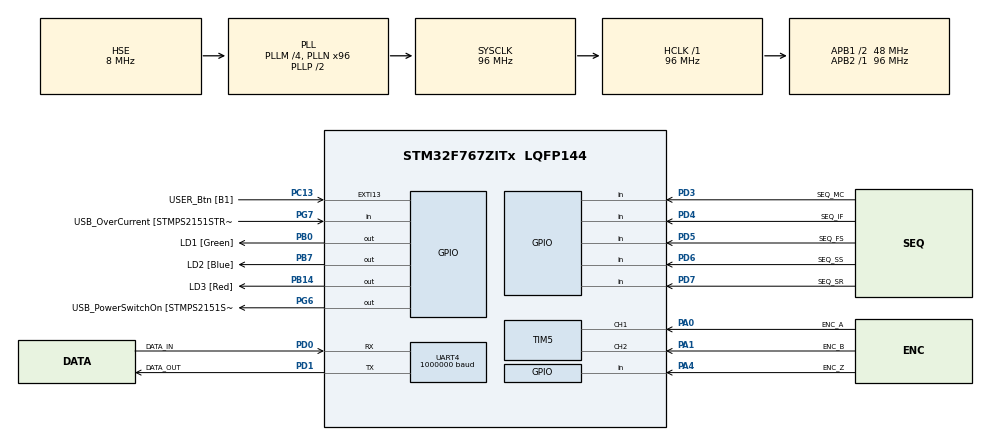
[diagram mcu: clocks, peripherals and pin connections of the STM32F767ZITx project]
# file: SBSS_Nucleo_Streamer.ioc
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Dma.Request0=UART4_TX
Dma.UART4_TX.0.Direction=DMA_MEMORY_TO_PERIPH
Dma.UART4_TX.0.FIFOMode=DMA_FIFOMODE_DISABLE
Dma.UART4_TX.0.Instance=DMA1_Stream4
Dma.UART4_TX.0.MemDataAlignment=DMA_MDATAALIGN_BYTE
Dma.UART4_TX.0.MemInc=DMA_MINC_ENABLE
Dma.UART4_TX.0.Mode=DMA_NORMAL
Dma.UART4_TX.0.PeriphDataAlignment=DMA_PDATAALIGN_BYTE
Dma.UART4_TX.0.PeriphInc=DMA_PINC_DISABLE
Dma.UART4_TX.0.Priority=DMA_PRIORITY_LOW
Mcu.Family=STM32F7
Mcu.Name=STM32F767ZITx
Mcu.Package=LQFP144
NVIC.DMA1_Stream4_IRQn=true\:0\:0\:false\:false\:false\:false\:true\:false
NVIC.PriorityGroup=NVIC_PRIORITYGROUP_4
PA0/WKUP.GPIO_Label=ENC_A
PA0/WKUP.Signal=S_TIM5_CH1
PA1.GPIO_Label=ENC_B
PA1.Signal=S_TIM5_CH2
PA13.GPIO_Label=TMS
PA13.Mode=Serial_Wire
PA13.Signal=SYS_JTMS-SWDIO
PA14.GPIO_Label=TCK
PA14.Mode=Serial_Wire
PA14.Signal=SYS_JTCK-SWCLK
PA4.GPIO_Label=ENC_Z
PA4.Signal=GPIO_Input
PB0.GPIO_Label=LD1 [Green]
PB0.Signal=GPIO_Output
PB14.GPIO_Label=LD3 [Red]
PB14.Signal=GPIO_Output
PB3.GPIO_Label=SWO
PB3.Signal=SYS_JTDO-SWO
PB7.GPIO_Label=LD2 [Blue]
PB7.Signal=GPIO_Output
PC13.GPIO_Label=USER_Btn [B1]
PC13.Signal=GPXTI13
PC14/OSC32_IN.Mode=LSE-External-Oscillator
PC14/OSC32_IN.Signal=RCC_OSC32_IN
PC15/OSC32_OUT.Mode=LSE-External-Oscillator
PC15/OSC32_OUT.Signal=RCC_OSC32_OUT
PD0.GPIO_Label=DATA_IN
PD0.Mode=Asynchronous
PD0.Signal=UART4_RX
PD1.GPIO_Label=DATA_OUT
PD1.Mode=Asynchronous
PD1.Signal=UART4_TX
PD3.GPIO_Label=SEQ_MC
PD3.Signal=GPIO_Input
PD4.GPIO_Label=SEQ_IF
PD4.Signal=GPIO_Input
PD5.GPIO_Label=SEQ_FS
PD5.Signal=GPIO_Input
PD6.GPIO_Label=SEQ_SS
PD6.Signal=GPIO_Input
PD7.GPIO_Label=SEQ_SR
PD7.Signal=GPIO_Input
PG6.GPIO_Label=USB_PowerSwitchOn [STMPS2151STR_EN]
PG6.Signal=GPIO_Output
PG7.GPIO_Label=USB_OverCurrent [STMPS2151STR_FAULT]
PG7.Signal=GPIO_Input
PH0/OSC_IN.GPIO_Label=MCO [STM32F103CBT6_PA8]
PH0/OSC_IN.Mode=HSE-External-Clock-Source
PH0/OSC_IN.Signal=RCC_OSC_IN
PH1/OSC_OUT.Mode=HSE-External-Clock-Source
PH1/OSC_OUT.Signal=RCC_OSC_OUT
ProjectManager.HeapSize=0x200
ProjectManager.StackSize=0x400
ProjectManager.TargetToolchain=STM32CubeIDE
RCC.48MHZClocksFreq_Value=24000000
RCC.AHBFreq_Value=96000000
RCC.APB1CLKDivider=RCC_HCLK_DIV2
RCC.APB1Freq_Value=48000000
RCC.APB1TimFreq_Value=96000000
RCC.APB2Freq_Value=96000000
RCC.APB2TimFreq_Value=96000000
RCC.CortexFreq_Value=96000000
RCC.HCLKFreq_Value=96000000
RCC.HSE_VALUE=8000000
RCC.HSI_VALUE=16000000
RCC.PLLM=4
RCC.PLLMUL=RCC_PLL_MUL9
RCC.PLLN=96
RCC.PLLQ=4
RCC.PLLSourceVirtual=RCC_PLLSOURCE_HSE
RCC.PRESCALERUSB=RCC_USBCLKSOURCE_PLL_DIV1_5
RCC.SYSCLKFreq_VALUE=96000000
RCC.SYSCLKSource=RCC_SYSCLKSOURCE_PLLCLK
RCC.SYSCLKSourceVirtual=RCC_SYSCLKSOURCE_PLLCLK
RCC.USBFreq_Value=48000000
RCC.VCOOutputFreq_Value=192000000
SH.S_TIM5_CH1.0=TIM5_CH1,Encoder_Interface
SH.S_TIM5_CH2.0=TIM5_CH2,Encoder_Interface
TIM2.Prescaler=24000
UART4.BaudRate=1000000
UART4.Mode=MODE_TX
VP_TIM2_VS_ClockSourceINT.Mode=Internal
board=NUCLEO-F767ZI

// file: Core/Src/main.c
/* USER CODE BEGIN Header */
/**
  ******************************************************************************
  * @file           : main.c
  * @brief          : Main program body
  ******************************************************************************
  * @attention
  *
  * Copyright (c) 2022 STMicroelectronics.
  * All rights reserved.
  *
  * This software is licensed under terms that can be found in the LICENSE file
  * in the root directory of this software component.
  * If no LICENSE file comes with this software, it is provided AS-IS.
  *
  ******************************************************************************
  */
/* USER CODE END Header */
#include "main.h"

/* USER CODE BEGIN Includes */
#include <string.h>
#include <stdio.h>

#include "data_buffer.h"
/* USER CODE END Includes */

void SystemClock_Config(void);
static void MX_GPIO_Init(void);
static void MX_UART4_Init(void);
static void MX_DMA_Init(void);
static void MX_TIM5_Init(void);
static void MX_TIM2_Init(void);

/* USER CODE BEGIN 0 */

static void send_buffer(void * p_buffer, size_t size)
{
	char * str_cast = p_buffer;

	LL_DMA_DisableStream(DMA1, LL_DMA_STREAM_4);
	LL_DMA_ClearFlag_TC4(DMA1);
	LL_DMA_SetMemoryAddress(DMA1, LL_DMA_STREAM_4, (uint32_t)str_cast);
	LL_DMA_SetDataLength(DMA1, LL_DMA_STREAM_4, size);
	LL_DMA_EnableStream(DMA1, LL_DMA_STREAM_4);
}

/* USER CODE END 0 */

int main(void)
{

  /* MCU Configuration--------------------------------------------------------*/

  /* Reset of all peripherals, Initializes the Flash interface and the Systick. */
  HAL_Init();

  /* Configure the system clock */
  SystemClock_Config();

  /* USER CODE BEGIN SysInit */

  // This enables the DMA clock. The generated code does this after trying to set values in the UART DMA registers.
  // But those registers can't be set before the DMA clock is enabled.
  MX_DMA_Init();

  /* USER CODE END SysInit */

  /* Initialize all configured peripherals */
  MX_GPIO_Init();
  MX_UART4_Init();
  MX_DMA_Init();
  MX_TIM5_Init();
  MX_TIM2_Init();
  /* USER CODE BEGIN 2 */

  // Don't know why the generated code doesn't do this. It's necessary to operate
  LL_USART_EnableDMAReq_TX(UART4);
  LL_DMA_SetPeriphAddress(DMA1, LL_DMA_STREAM_4, (uint32_t)&UART4->TDR);

  DATA_BUFFER_HND_T buffer_hnd = data_buffer_create_new(2048, send_buffer);
  strcpy(data_buffer_get_write_ptr(buffer_hnd), "\r\n\r\n");
  data_buffer_commit_bytes(buffer_hnd, 4);

  uint32_t seq = 0;

  LL_TIM_EnableCounter(TIM2);
  LL_TIM_EnableCounter(TIM5);
  /* USER CODE END 2 */

  /* Infinite loop */
  /* USER CODE BEGIN WHILE */
  while (1)
  {

	  seq++;
	  while (LL_TIM_GetCounter(TIM2) < (seq * 4));

	  char * print_buffer = data_buffer_get_write_ptr(buffer_hnd);
	  int str_size = sprintf(print_buffer, "%lu,%lu,%X,%X,%X,%X,%X,%X\r\n",
			  seq,
			  LL_TIM_GetCounter(TIM5),
			  HAL_GPIO_ReadPin(ENC_Z_GPIO_Port, ENC_Z_Pin),
			  HAL_GPIO_ReadPin(SEQ_MC_GPIO_Port, SEQ_MC_Pin),
			  HAL_GPIO_ReadPin(SEQ_IF_GPIO_Port, SEQ_IF_Pin),
			  HAL_GPIO_ReadPin(SEQ_FS_GPIO_Port, SEQ_FS_Pin),
			  HAL_GPIO_ReadPin(SEQ_SS_GPIO_Port, SEQ_SS_Pin),
			  HAL_GPIO_ReadPin(SEQ_SR_GPIO_Port, SEQ_SR_Pin));

	  data_buffer_commit_bytes(buffer_hnd, str_size);    /* USER CODE END WHILE */

  }
}

void SystemClock_Config(void)
{
  RCC_OscInitTypeDef RCC_OscInitStruct = {0};
  RCC_ClkInitTypeDef RCC_ClkInitStruct = {0};

  /** Configure LSE Drive Capability
  */
  HAL_PWR_EnableBkUpAccess();

  /** Configure the main internal regulator output voltage
  */
  __HAL_RCC_PWR_CLK_ENABLE();
  __HAL_PWR_VOLTAGESCALING_CONFIG(PWR_REGULATOR_VOLTAGE_SCALE3);

  /** Initializes the RCC Oscillators according to the specified parameters
  * in the RCC_OscInitTypeDef structure.
  */
  RCC_OscInitStruct.OscillatorType = RCC_OSCILLATORTYPE_HSE;
  RCC_OscInitStruct.HSEState = RCC_HSE_BYPASS;
  RCC_OscInitStruct.PLL.PLLState = RCC_PLL_ON;
  RCC_OscInitStruct.PLL.PLLSource = RCC_PLLSOURCE_HSE;
  RCC_OscInitStruct.PLL.PLLM = 4;
  RCC_OscInitStruct.PLL.PLLN = 96;
  RCC_OscInitStruct.PLL.PLLP = RCC_PLLP_DIV2;
  RCC_OscInitStruct.PLL.PLLQ = 4;
  RCC_OscInitStruct.PLL.PLLR = 2;
  if (HAL_RCC_OscConfig(&RCC_OscInitStruct) != HAL_OK)
  {
    Error_Handler();
  }

  /** Activate the Over-Drive mode
  */
  if (HAL_PWREx_EnableOverDrive() != HAL_OK)
  {
    Error_Handler();
  }

  /** Initializes the CPU, AHB and APB buses clocks
  */
  RCC_ClkInitStruct.ClockType = RCC_CLOCKTYPE_HCLK|RCC_CLOCKTYPE_SYSCLK
                              |RCC_CLOCKTYPE_PCLK1|RCC_CLOCKTYPE_PCLK2;
  RCC_ClkInitStruct.SYSCLKSource = RCC_SYSCLKSOURCE_PLLCLK;
  RCC_ClkInitStruct.AHBCLKDivider = RCC_SYSCLK_DIV1;
  RCC_ClkInitStruct.APB1CLKDivider = RCC_HCLK_DIV2;
  RCC_ClkInitStruct.APB2CLKDivider = RCC_HCLK_DIV1;

  if (HAL_RCC_ClockConfig(&RCC_ClkInitStruct, FLASH_LATENCY_3) != HAL_OK)
  {
    Error_Handler();
  }
}

static void MX_TIM2_Init(void)
{

  LL_TIM_InitTypeDef TIM_InitStruct = {0};

  /* Peripheral clock enable */
  LL_APB1_GRP1_EnableClock(LL_APB1_GRP1_PERIPH_TIM2);

  TIM_InitStruct.Prescaler = 24000;
  TIM_InitStruct.CounterMode = LL_TIM_COUNTERMODE_UP;
  TIM_InitStruct.Autoreload = 4294967295;
  TIM_InitStruct.ClockDivision = LL_TIM_CLOCKDIVISION_DIV1;
  LL_TIM_Init(TIM2, &TIM_InitStruct);
  LL_TIM_DisableARRPreload(TIM2);
  LL_TIM_SetClockSource(TIM2, LL_TIM_CLOCKSOURCE_INTERNAL);
  LL_TIM_SetTriggerOutput(TIM2, LL_TIM_TRGO_RESET);
  LL_TIM_DisableMasterSlaveMode(TIM2);

}

static void MX_TIM5_Init(void)
{

  LL_TIM_InitTypeDef TIM_InitStruct = {0};

  LL_GPIO_InitTypeDef GPIO_InitStruct = {0};

  /* Peripheral clock enable */
  LL_APB1_GRP1_EnableClock(LL_APB1_GRP1_PERIPH_TIM5);

  LL_AHB1_GRP1_EnableClock(LL_AHB1_GRP1_PERIPH_GPIOA);
  /**TIM5 GPIO Configuration
  PA0/WKUP   ------> TIM5_CH1
  PA1   ------> TIM5_CH2
  */
  GPIO_InitStruct.Pin = LL_GPIO_PIN_0;
  GPIO_InitStruct.Mode = LL_GPIO_MODE_ALTERNATE;
  GPIO_InitStruct.Speed = LL_GPIO_SPEED_FREQ_LOW;
  GPIO_InitStruct.OutputType = LL_GPIO_OUTPUT_PUSHPULL;
  GPIO_InitStruct.Pull = LL_GPIO_PULL_NO;
  GPIO_InitStruct.Alternate = LL_GPIO_AF_2;
  LL_GPIO_Init(GPIOA, &GPIO_InitStruct);

  GPIO_InitStruct.Pin = LL_GPIO_PIN_1;
  GPIO_InitStruct.Mode = LL_GPIO_MODE_ALTERNATE;
  GPIO_InitStruct.Speed = LL_GPIO_SPEED_FREQ_LOW;
  GPIO_InitStruct.OutputType = LL_GPIO_OUTPUT_PUSHPULL;
  GPIO_InitStruct.Pull = LL_GPIO_PULL_NO;
  GPIO_InitStruct.Alternate = LL_GPIO_AF_2;
  LL_GPIO_Init(GPIOA, &GPIO_InitStruct);

  TIM_InitStruct.Prescaler = 0;
  TIM_InitStruct.CounterMode = LL_TIM_COUNTERMODE_UP;
  TIM_InitStruct.Autoreload = 4294967295;
  TIM_InitStruct.ClockDivision = LL_TIM_CLOCKDIVISION_DIV1;
  LL_TIM_Init(TIM5, &TIM_InitStruct);
  LL_TIM_DisableARRPreload(TIM5);
  LL_TIM_SetEncoderMode(TIM5, LL_TIM_ENCODERMODE_X2_TI1);
  LL_TIM_IC_SetActiveInput(TIM5, LL_TIM_CHANNEL_CH1, LL_TIM_ACTIVEINPUT_DIRECTTI);
  LL_TIM_IC_SetPrescaler(TIM5, LL_TIM_CHANNEL_CH1, LL_TIM_ICPSC_DIV1);
  LL_TIM_IC_SetFilter(TIM5, LL_TIM_CHANNEL_CH1, LL_TIM_IC_FILTER_FDIV1);
  LL_TIM_IC_SetPolarity(TIM5, LL_TIM_CHANNEL_CH1, LL_TIM_IC_POLARITY_RISING);
  LL_TIM_IC_SetActiveInput(TIM5, LL_TIM_CHANNEL_CH2, LL_TIM_ACTIVEINPUT_DIRECTTI);
  LL_TIM_IC_SetPrescaler(TIM5, LL_TIM_CHANNEL_CH2, LL_TIM_ICPSC_DIV1);
  LL_TIM_IC_SetFilter(TIM5, LL_TIM_CHANNEL_CH2, LL_TIM_IC_FILTER_FDIV1);
  LL_TIM_IC_SetPolarity(TIM5, LL_TIM_CHANNEL_CH2, LL_TIM_IC_POLARITY_RISING);
  LL_TIM_SetTriggerOutput(TIM5, LL_TIM_TRGO_RESET);
  LL_TIM_DisableMasterSlaveMode(TIM5);
  /* USER CODE BEGIN TIM5_Init 2 */
  LL_TIM_SetCounter(TIM5, 1000000000);
  /* USER CODE END TIM5_Init 2 */

}

static void MX_UART4_Init(void)
{

  LL_USART_InitTypeDef USART_InitStruct = {0};

  LL_GPIO_InitTypeDef GPIO_InitStruct = {0};
  RCC_PeriphCLKInitTypeDef PeriphClkInitStruct = {0};

  /** Initializes the peripherals clock
  */
  PeriphClkInitStruct.PeriphClockSelection = RCC_PERIPHCLK_UART4;
  PeriphClkInitStruct.Uart4ClockSelection = RCC_UART4CLKSOURCE_PCLK1;
  if (HAL_RCCEx_PeriphCLKConfig(&PeriphClkInitStruct) != HAL_OK)
  {
    Error_Handler();
  }

  /* Peripheral clock enable */
  LL_APB1_GRP1_EnableClock(LL_APB1_GRP1_PERIPH_UART4);

  LL_AHB1_GRP1_EnableClock(LL_AHB1_GRP1_PERIPH_GPIOD);
  /**UART4 GPIO Configuration
  PD0   ------> UART4_RX
  PD1   ------> UART4_TX
  */
  GPIO_InitStruct.Pin = LL_GPIO_PIN_0;
  GPIO_InitStruct.Mode = LL_GPIO_MODE_ALTERNATE;
  GPIO_InitStruct.Speed = LL_GPIO_SPEED_FREQ_VERY_HIGH;
  GPIO_InitStruct.OutputType = LL_GPIO_OUTPUT_PUSHPULL;
  GPIO_InitStruct.Pull = LL_GPIO_PULL_NO;
  GPIO_InitStruct.Alternate = LL_GPIO_AF_8;
  LL_GPIO_Init(GPIOD, &GPIO_InitStruct);

  GPIO_InitStruct.Pin = LL_GPIO_PIN_1;
  GPIO_InitStruct.Mode = LL_GPIO_MODE_ALTERNATE;
  GPIO_InitStruct.Speed = LL_GPIO_SPEED_FREQ_VERY_HIGH;
  GPIO_InitStruct.OutputType = LL_GPIO_OUTPUT_PUSHPULL;
  GPIO_InitStruct.Pull = LL_GPIO_PULL_NO;
  GPIO_InitStruct.Alternate = LL_GPIO_AF_8;
  LL_GPIO_Init(GPIOD, &GPIO_InitStruct);

  /* UART4 DMA Init */

  /* UART4_TX Init */
  LL_DMA_SetChannelSelection(DMA1, LL_DMA_STREAM_4, LL_DMA_CHANNEL_4);

  LL_DMA_SetDataTransferDirection(DMA1, LL_DMA_STREAM_4, LL_DMA_DIRECTION_MEMORY_TO_PERIPH);

  LL_DMA_SetStreamPriorityLevel(DMA1, LL_DMA_STREAM_4, LL_DMA_PRIORITY_LOW);

  LL_DMA_SetMode(DMA1, LL_DMA_STREAM_4, LL_DMA_MODE_NORMAL);

  LL_DMA_SetPeriphIncMode(DMA1, LL_DMA_STREAM_4, LL_DMA_PERIPH_NOINCREMENT);

  LL_DMA_SetMemoryIncMode(DMA1, LL_DMA_STREAM_4, LL_DMA_MEMORY_INCREMENT);

  LL_DMA_SetPeriphSize(DMA1, LL_DMA_STREAM_4, LL_DMA_PDATAALIGN_BYTE);

  LL_DMA_SetMemorySize(DMA1, LL_DMA_STREAM_4, LL_DMA_MDATAALIGN_BYTE);

  LL_DMA_DisableFifoMode(DMA1, LL_DMA_STREAM_4);

  USART_InitStruct.BaudRate = 1000000;
  USART_InitStruct.DataWidth = LL_USART_DATAWIDTH_8B;
  USART_InitStruct.StopBits = LL_USART_STOPBITS_1;
  USART_InitStruct.Parity = LL_USART_PARITY_NONE;
  USART_InitStruct.TransferDirection = LL_USART_DIRECTION_TX;
  USART_InitStruct.HardwareFlowControl = LL_USART_HWCONTROL_NONE;
  USART_InitStruct.OverSampling = LL_USART_OVERSAMPLING_16;
  LL_USART_Init(UART4, &USART_InitStruct);
  LL_USART_ConfigAsyncMode(UART4);
  LL_USART_Enable(UART4);

}

static void MX_DMA_Init(void)
{

  /* Init with LL driver */
  /* DMA controller clock enable */
  LL_AHB1_GRP1_EnableClock(LL_AHB1_GRP1_PERIPH_DMA1);

  /* DMA interrupt init */
  /* DMA1_Stream4_IRQn interrupt configuration */
  NVIC_SetPriority(DMA1_Stream4_IRQn, NVIC_EncodePriority(NVIC_GetPriorityGrouping(),0, 0));
  NVIC_EnableIRQ(DMA1_Stream4_IRQn);

}

static void MX_GPIO_Init(void)
{
  GPIO_InitTypeDef GPIO_InitStruct = {0};

  /* GPIO Ports Clock Enable */
  __HAL_RCC_GPIOC_CLK_ENABLE();
  __HAL_RCC_GPIOH_CLK_ENABLE();
  __HAL_RCC_GPIOA_CLK_ENABLE();
  __HAL_RCC_GPIOB_CLK_ENABLE();
  __HAL_RCC_GPIOG_CLK_ENABLE();
  __HAL_RCC_GPIOD_CLK_ENABLE();

  /*Configure GPIO pin Output Level */
  HAL_GPIO_WritePin(GPIOB, LD1_Pin|LD3_Pin|LD2_Pin, GPIO_PIN_RESET);

  /*Configure GPIO pin Output Level */
  HAL_GPIO_WritePin(USB_PowerSwitchOn_GPIO_Port, USB_PowerSwitchOn_Pin, GPIO_PIN_RESET);

  /*Configure GPIO pin : USER_Btn_Pin */
  GPIO_InitStruct.Pin = USER_Btn_Pin;
  GPIO_InitStruct.Mode = GPIO_MODE_IT_RISING;
  GPIO_InitStruct.Pull = GPIO_NOPULL;
  HAL_GPIO_Init(USER_Btn_GPIO_Port, &GPIO_InitStruct);

  /*Configure GPIO pin : ENC_Z_Pin */
  GPIO_InitStruct.Pin = ENC_Z_Pin;
  GPIO_InitStruct.Mode = GPIO_MODE_INPUT;
  GPIO_InitStruct.Pull = GPIO_NOPULL;
  HAL_GPIO_Init(ENC_Z_GPIO_Port, &GPIO_InitStruct);

  /*Configure GPIO pins : LD1_Pin LD3_Pin LD2_Pin */
  GPIO_InitStruct.Pin = LD1_Pin|LD3_Pin|LD2_Pin;
  GPIO_InitStruct.Mode = GPIO_MODE_OUTPUT_PP;
  GPIO_InitStruct.Pull = GPIO_NOPULL;
  GPIO_InitStruct.Speed = GPIO_SPEED_FREQ_LOW;
  HAL_GPIO_Init(GPIOB, &GPIO_InitStruct);

  /*Configure GPIO pin : USB_PowerSwitchOn_Pin */
  GPIO_InitStruct.Pin = USB_PowerSwitchOn_Pin;
  GPIO_InitStruct.Mode = GPIO_MODE_OUTPUT_PP;
  GPIO_InitStruct.Pull = GPIO_NOPULL;
  GPIO_InitStruct.Speed = GPIO_SPEED_FREQ_LOW;
  HAL_GPIO_Init(USB_PowerSwitchOn_GPIO_Port, &GPIO_InitStruct);

  /*Configure GPIO pin : USB_OverCurrent_Pin */
  GPIO_InitStruct.Pin = USB_OverCurrent_Pin;
  GPIO_InitStruct.Mode = GPIO_MODE_INPUT;
  GPIO_InitStruct.Pull = GPIO_NOPULL;
  HAL_GPIO_Init(USB_OverCurrent_GPIO_Port, &GPIO_InitStruct);

  /*Configure GPIO pins : SEQ_MC_Pin SEQ_IF_Pin SEQ_FS_Pin SEQ_SS_Pin
                           SEQ_SR_Pin */
  GPIO_InitStruct.Pin = SEQ_MC_Pin|SEQ_IF_Pin|SEQ_FS_Pin|SEQ_SS_Pin
                          |SEQ_SR_Pin;
  GPIO_InitStruct.Mode = GPIO_MODE_INPUT;
  GPIO_InitStruct.Pull = GPIO_NOPULL;
  HAL_GPIO_Init(GPIOD, &GPIO_InitStruct);

}

void Error_Handler(void)
{
  __disable_irq();
  while (1)
  {
  }
}
